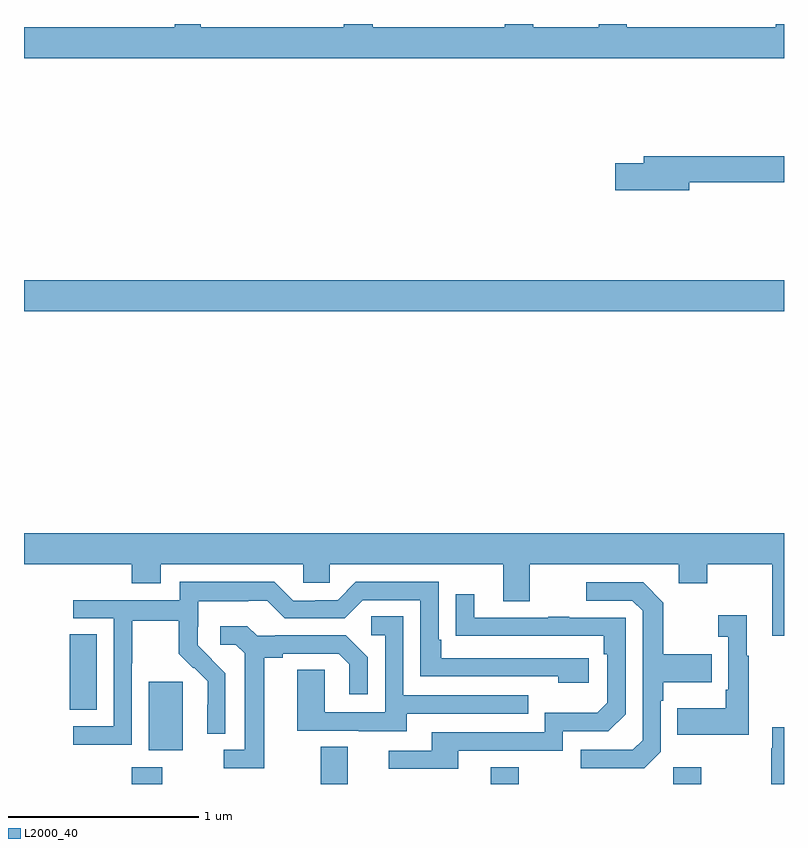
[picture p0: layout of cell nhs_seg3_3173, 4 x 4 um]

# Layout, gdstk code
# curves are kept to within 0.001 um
import gdstk
lib = gdstk.Library(unit=1e-6, precision=1e-09)
def R(c, l, rs):  # rectangles x0, y0, x1, y1
    for r in rs: c.add(gdstk.rectangle(r[:2], r[2:], *l))
def P(c, l, *ps):  # polygons
    for p in ps: c.add(gdstk.Polygon(p, *l))
L2000_40 = (2000, 40)

nhs_seg3_3173 = lib.new_cell('nhs_seg3_3173')
R(nhs_seg3_3173, L2000_40, [(275.567,726.4,275.727,726.487), (276.563,726.4,276.703,726.596), (277.457,726.4,277.605,726.487), (278.418,726.4,278.565,726.487), (275.657,726.578,275.836,726.939), (275.24,726.79,275.383,727.187), (275,728.888,279,729.052)])
P(nhs_seg3_3173, L2000_40, [(279,730.4),(278.957,730.4),(278.957,730.384),(278.173,730.384),(278.173,730.4),(278.026,730.4),(278.026,730.384),(277.681,730.384),(277.681,730.4),(277.529,730.4),(277.529,730.384),(276.836,730.384),(276.836,730.4),(276.683,730.4),(276.683,730.384),(275.931,730.384),(275.931,730.4),(275.793,730.4),(275.793,730.384),(275,730.384),(275,730.22),(279,730.22)],
  [(278.5,729.568),(279,729.568),(279,729.704),(278.261,729.704),(278.261,729.668),(278.112,729.668),(278.112,729.526),(278.5,729.526)],
  [(279,727.72),(275,727.72),(275,727.556),(275.567,727.556),(275.567,727.457),(275.719,727.457),(275.719,727.556),(276.471,727.556),(276.471,727.458),(276.609,727.458),(276.609,727.556),(277.523,727.556),(277.523,727.362),(277.663,727.362),(277.663,727.556),(278.447,727.556),(278.447,727.457),(278.595,727.457),(278.595,727.556),(278.939,727.556),(278.939,727.179),(279,727.179)],
  [(275.568,727.036),(275.571,727.036),(275.571,727.26),(275.815,727.26),(275.815,727.085),(275.892,727.008),(275.895,727.011),(275.966,726.941),(275.966,726.818),(275.964,726.818),(275.964,726.664),(276.06,726.664),(276.06,726.982),(275.914,727.13),(275.914,727.227),(275.916,727.227),(275.916,727.361),(276.179,727.361),(276.179,727.365),(276.279,727.365),(276.372,727.272),(276.687,727.272),(276.783,727.368),(277.086,727.368),(277.086,726.966),(277.811,726.966),(277.811,726.932),(277.972,726.932),(277.972,727.062),(277.195,727.062),(277.195,727.159),(277.182,727.159),(277.182,727.464),(276.747,727.464),(276.651,727.368),(276.533,727.368),(276.533,727.365),(276.417,727.365),(276.317,727.465),(275.82,727.465),(275.82,727.368),(275.259,727.368),(275.259,727.272),(275.472,727.272),(275.472,726.705),(275.259,726.705),(275.259,726.607),(275.568,726.607)],
  [(278.352,726.57),(278.352,726.839),(278.365,726.839),(278.365,726.935),(278.621,726.935),(278.621,727.083),(278.365,727.083),(278.365,727.355),(278.259,727.461),(277.959,727.461),(277.959,727.365),(278.202,727.365),(278.256,727.311),(278.256,726.63),(278.205,726.579),(277.929,726.579),(277.929,726.483),(278.265,726.483)],
  [(277.285,726.576),(277.836,726.576),(277.836,726.678),(278.076,726.678),(278.166,726.768),(278.166,727.275),(277.871,727.275),(277.871,727.28),(277.759,727.28),(277.759,727.275),(277.369,727.275),(277.369,727.399),(277.273,727.399),(277.273,727.18),(278.05,727.179),(278.05,727.082),(278.07,727.082),(278.07,726.828),(278.017,726.775),(277.74,726.775),(277.74,726.672),(277.145,726.672),(277.145,726.576),(276.921,726.576),(276.921,726.48),(277.285,726.48)],
  [(278.815,727.075),(278.803,727.075),(278.803,727.288),(278.655,727.288),(278.655,727.175),(278.706,727.175),(278.706,726.895),(278.694,726.895),(278.694,726.799),(278.437,726.799),(278.437,726.659),(278.815,726.659)],
  [(277.015,726.771),(277.655,726.771),(277.655,726.867),(276.996,726.867),(276.996,727.283),(276.828,727.283),(276.828,727.182),(276.9,727.182),(276.9,726.777),(276.582,726.777),(276.582,727.001),(276.437,727.001),(276.437,726.681),(276.761,726.681),(276.761,726.677),(277.015,726.677)],
  [(276.265,727.064),(276.361,727.064),(276.361,727.086),(276.656,727.086),(276.713,727.029),(276.713,726.873),(276.81,726.873),(276.81,727.066),(276.694,727.182),(276.322,727.182),(276.322,727.179),(276.228,727.179),(276.176,727.231),(276.033,727.231),(276.033,727.134),(276.114,727.134),(276.161,727.087),(276.161,726.579),(276.051,726.579),(276.051,726.483),(276.265,726.483)],
  [(279,726.7),(278.939,726.7),(278.939,726.587),(278.932,726.587),(278.932,726.4),(279,726.4)])

lib.write_gds('nhs_seg3_3173.gds')
